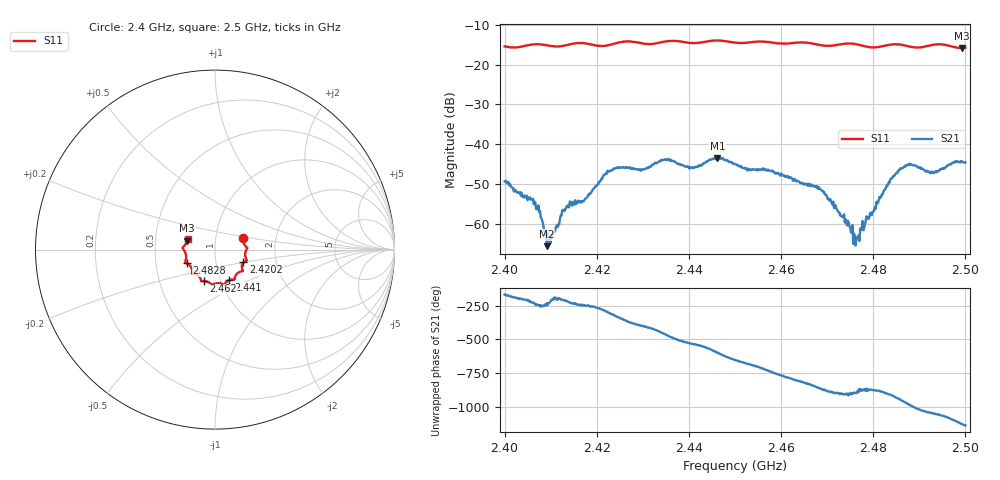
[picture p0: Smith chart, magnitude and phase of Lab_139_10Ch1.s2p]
# Hz S RI R 50
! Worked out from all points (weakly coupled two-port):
!   601 points, 2.4 GHz to 2.5 GHz, reference 50 ohm
!   highest |S21| = -43.43 dB at 2.4462 GHz (marker M1); lowest = -65.6 dB at 2.4092 GHz (marker M2)
!   lowest |S11| = -15.8 dB at 2.4992 GHz (marker M3), VSWR 1.39, Z = 36.5 + j3.66 ohm
!   |S11| at or under -10 dB: start of sweep to end of sweep
!   S12 and S22 are empty: the file has one direction only
!   S11 on the Smith chart (normalised r, x): 2.4 GHz: 1.36, +0.18; 2.4202 GHz: 1.36, -0.20; 2.441 GHz: 1.10, -0.39; 2.462 GHz: 0.84, -0.30; 2.4828 GHz: 0.72, -0.11; 2.5 GHz: 0.73, +0.09
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2.4e9  0.158 0.0627  -0.00334 -0.000706  0 0  0 0
2.406167e9  0.1796 0.0108  -0.00137 0.00154  0 0  0 0
2.409167e9  0.1755 0.000334  -0.000323 0.000412  0 0  0 0
2.410167e9  0.1714 -0.00796  -0.000632 0.00031  0 0  0 0
2.413833e9  0.1718 -0.0481  -0.00125 0.00118  0 0  0 0
2.416667e9  0.1775 -0.0608  -0.000667 0.00173  0 0  0 0
2.420167e9  0.1581 -0.0712  -0.000182 0.00314  0 0  0 0
2.424e9  0.1514 -0.1071  0.00408 0.00277  0 0  0 0
2.433333e9  0.1114 -0.1511  0.00111 -0.00584  0 0  0 0
2.441e9  0.0785 -0.1697  -0.00512 -0.000217  0 0  0 0
2.446167e9  0.0497 -0.1956  -0.00332 0.00586  0 0  0 0
2.45e9  0.0281 -0.1875  0.00228 0.00518  0 0  0 0
2.462e9  -0.0607 -0.1755  0.00127 -0.00357  0 0  0 0
2.466667e9  -0.0786 -0.1682  -0.00163 -0.00266  0 0  0 0
2.469333e9  -0.09 -0.1484  -0.00224 -0.00114  0 0  0 0
2.476167e9  -0.1273 -0.1298  -0.000532 3.73e-06  0 0  0 0
2.482833e9  -0.1575 -0.0767  -0.00293 2.25e-05  0 0  0 0
2.483333e9  -0.1607 -0.0753  -0.00327 0.000548  0 0  0 0
2.487667e9  -0.1618 -0.0532  -0.000538 0.00541  0 0  0 0
2.492667e9  -0.1768 0.00312  0.00384 0.00241  0 0  0 0
2.499167e9  -0.1544 0.0489  0.0038 -0.00458  0 0  0 0
2.5e9  -0.1519 0.0609  0.0029 -0.00515  0 0  0 0
